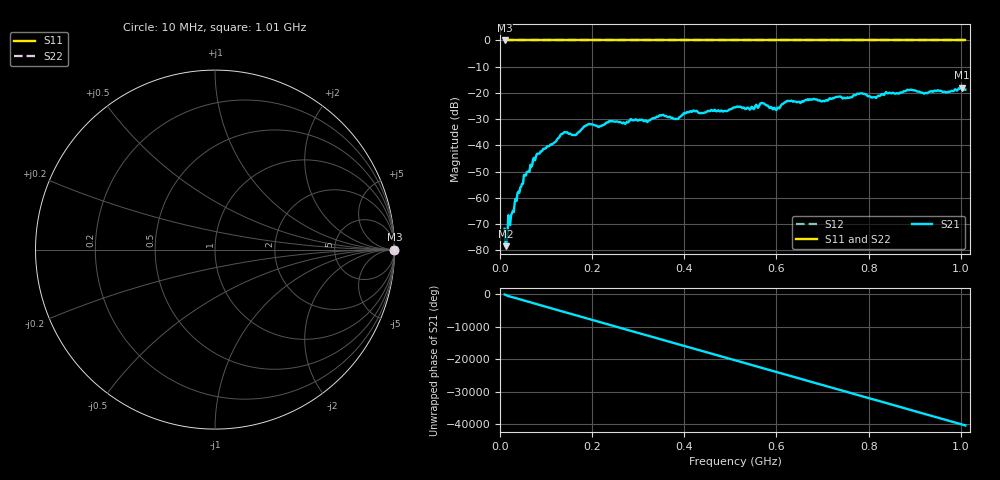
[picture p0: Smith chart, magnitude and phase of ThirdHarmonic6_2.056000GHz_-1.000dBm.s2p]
! 8/17/2025 12:38:45 AM
! C:\ANRITSUVNA\TEMP\TEMP.S2P
! CHANNEL.1
! TR.MEASUREMENT
! RAW.DATA
! RF.CORRECTION.OFF
! AVERAGING.OFF
! IF.BANDWIDTH: 5KHZ
! SWEEPTYPE:  FREQ.SWEEP(Linear)
! Reference Plane Port Info
! PORT:  PORT1  PORT2
! DISTANCE:  0  m  0  m
! TIME:  0  s  0  s
! PHASE.OFFSET:  0  deg.  0  deg.
! LOSS:  0  dB  0  dB
! REF.LOSS:  0  dB  0  dB
! REF.FREQ:  0  Hz  0  Hz
! Power Info
! POWER:  -20  dBm  -20  dBm
! EFF.POWER:  -20  dBm  -20  dBm
! SOURCE.ATTEN:  0  dB  0  dB
! TEST.ATTEN:  0  dB  0  dB
# GHZ S RI R 50.0
! FREQ.GHZ  S11RE  S11IM  S21RE  S21IM  S12RE  S12IM  S22RE  S22IM
!; PortSelection: Port_12
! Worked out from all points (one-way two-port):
!   501 points, 10 MHz to 1.01 GHz, reference 50 ohm
!   highest |S21| = -18.06 dB at 1.002 GHz (marker M1); lowest = -78.5 dB at 12 MHz (marker M2)
!   lowest |S11| = 0.0 dB at 10 MHz (marker M3)
!   |S11| at or under -10 dB: nowhere
!   |S22| runs from 0.0 to 0.0 dB; largest |S21 - S12| = 1.1
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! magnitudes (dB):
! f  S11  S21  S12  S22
! 10 MHz  0.0  -71.8  0.0  0.0
! 12 MHz  0.0  -78.5  0.0  0.0
! 36 MHz  0.0  -61.2  0.0  0.0
! 56 MHz  0.0  -51.6  0.0  0.0
! 76 MHz  0.0  -45.7  0.0  0.0
! 136 MHz  0.0  -35.6  0.0  0.0
! 162 MHz  0.0  -36.1  0.0  0.0
! 178 MHz  0.0  -33.7  0.0  0.0
! 194 MHz  0.0  -31.8  0.0  0.0
! 322 MHz  0.0  -30.6  0.0  0.0
! 344 MHz  0.0  -29.0  0.0  0.0
! 382 MHz  0.0  -29.9  0.0  0.0
! 416 MHz  0.0  -27.2  0.0  0.0
! 510 MHz  0.0  -25.5  0.0  0.0
! 546 MHz  0.0  -25.3  0.0  0.0
! 570 MHz  0.0  -23.9  0.0  0.0
! 596 MHz  0.0  -25.7  0.0  0.0
! 624 MHz  0.0  -23.1  0.0  0.0
! 678 MHz  0.0  -22.6  0.0  0.0
! 844 MHz  0.0  -20.0  0.0  0.0
! 1.002 GHz  0.0  -18.1  0.0  0.0
! 1.01 GHz  0.0  -18.8  0.0  0.0
